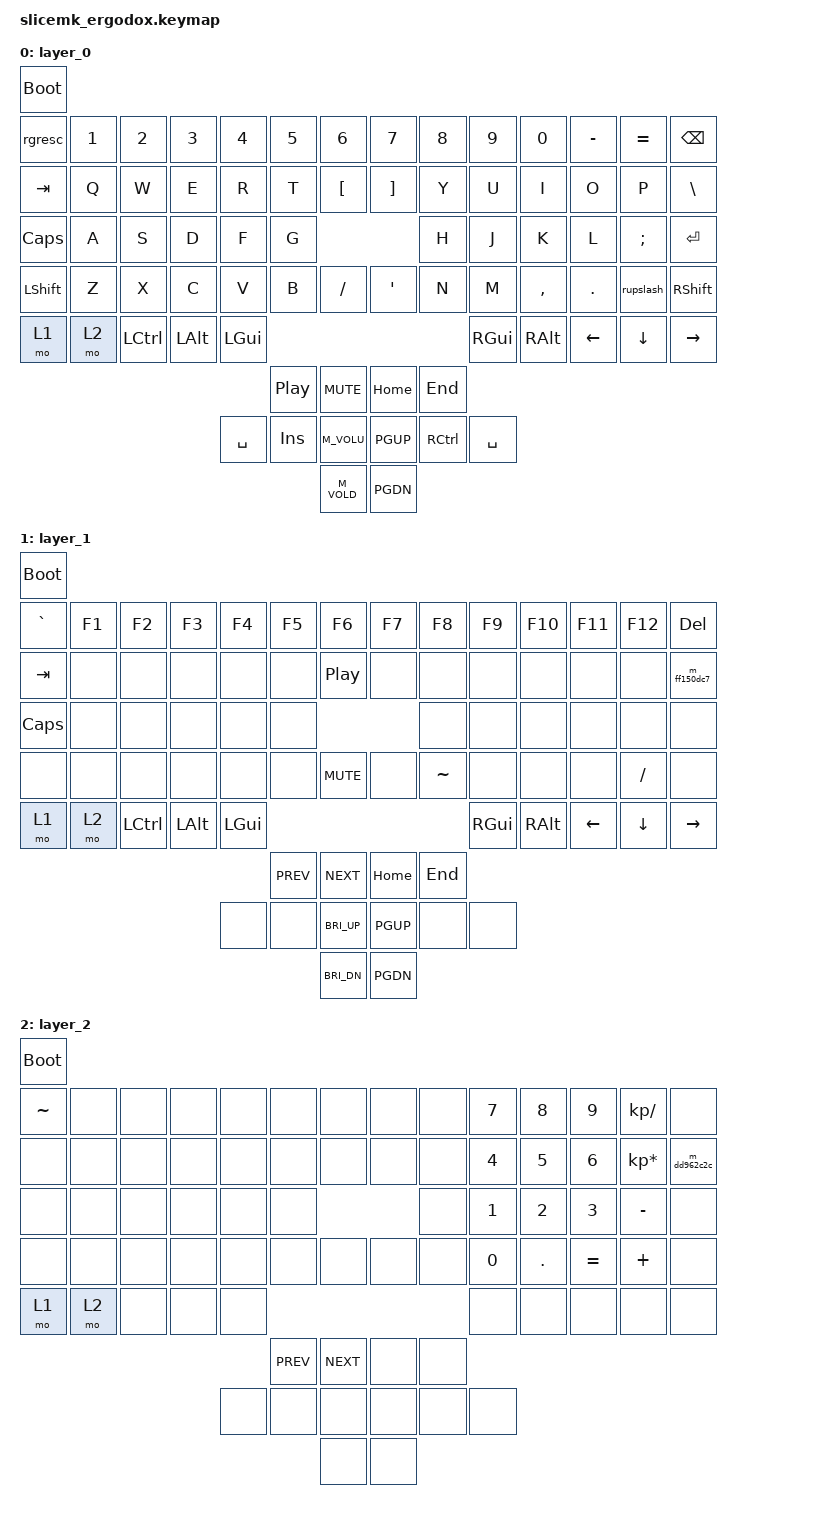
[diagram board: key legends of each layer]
#include <behaviors.dtsi>
#include <dt-bindings/zmk/bt.h>
#include <dt-bindings/zmk/keys.h>
#include <dt-bindings/zmk/outputs.h>

/ {
    behaviors {
        rgresc: rgrave_escape {
            compatible = "zmk,behavior-mod-morph";
            label = "RGRAVE_ESCAPE";
            #binding-cells = <0>;
            bindings = <&kp ESC>, <&kp GRAVE>;
            mods = <(MOD_LGUI|MOD_LSFT|MOD_RGUI|MOD_RSFT|MOD_LALT|MOD_RALT)>;
        };
		rupslash: rup_slash {
            compatible = "zmk,behavior-mod-morph";
            label = "RUP_SLASH";
            #binding-cells = <0>;
            bindings = <&kp UP>, <&kp SLASH>;
            mods = <(MOD_LGUI|MOD_RGUI|MOD_RSFT|MOD_LALT|MOD_RALT)>;
        };
    };					
};

/ {
	keymap {
		compatible = "zmk,keymap";
		layer_0 {
			bindings = <
				&bootloader
				&rgresc    &kp NUM_1 &kp NUM_2 &kp NUM_3 &kp NUM_4 &kp NUM_5 &kp NUM_6  &kp NUM_7 &kp NUM_8 &kp NUM_9 &kp NUM_0 &kp MINUS &kp EQUAL &kp BACKSPACE
				&kp TAB    &kp Q     &kp W     &kp E     &kp R     &kp T     &kp LBKT   &kp RBKT  &kp Y     &kp U     &kp I     &kp O     &kp P     &kp BSLH
				&kp CAPS   &kp A     &kp S     &kp D     &kp F     &kp G                          &kp H     &kp J     &kp K     &kp L     &kp SCLN  &kp ENTER
				&kp LSHIFT &kp Z     &kp X     &kp C     &kp V     &kp B     &kp SLASH  &kp SQT   &kp N     &kp M     &kp CMMA  &kp DOT   &rupslash &kp RSHFT
				&mo 1      &mo 2     &kp LCTL  &kp LALT  &kp LGUI                                           &kp RGUI  &kp RALT  &kp LEFT  &kp DOWN  &kp RIGHT
				                                                   &kp C_PP  &kp C_MUTE &kp HOME  &kp END
				                                         &kp SPC   &kp INS   &kp M_VOLU &kp PGUP  &kp RCTRL &kp SPC
				                                                             &kp M_VOLD &kp PGDN
			>;
		};
		layer_1 {
			bindings = <
				&bootloader
				&kp GRAVE &kp F1 &kp F2   &kp F3   &kp F4   &kp F5     &kp F6       &kp F7   &kp F8    &kp F9   &kp F10  &kp F11  &kp F12   &kp DEL
				&kp TAB   &none  &none    &none    &none    &none      &kp C_PP     &none    &none     &none    &none    &none    &none     &m_ff150dc7
				&kp CAPS  &none  &none    &none    &none    &none                            &none     &none    &none    &none    &none     &none
				&none     &none  &none    &none    &none    &none      &kp C_MUTE   &none    &kp TILDE &none    &none    &none    &kp SLASH &none
				&mo 1     &mo 2  &kp LCTL &kp LALT &kp LGUI                                            &kp RGUI &kp RALT &kp LEFT &kp DOWN  &kp RIGHT
				                                            &kp C_PREV &kp C_NEXT   &kp HOME &kp END
				                                   &none    &none      &kp C_BRI_UP &kp PGUP &none     &none
				                                                       &kp C_BRI_DN &kp PGDN
			>;
		};
		layer_2 {
			bindings = <
				&bootloader
				&kp TILDE &none &none &none &none &none      &none      &none &none &kp NUM_7 &kp NUM_8 &kp NUM_9 &kp KP_DIVIDE   &none
				&none     &none &none &none &none &none      &none      &none &none &kp NUM_4 &kp NUM_5 &kp NUM_6 &kp KP_MULTIPLY &m_dd962c2c
				&none     &none &none &none &none &none                       &none &kp NUM_1 &kp NUM_2 &kp NUM_3 &kp MINUS       &none
				&none     &none &none &none &none &none      &none      &none &none &kp NUM_0 &kp DOT   &kp EQUAL &kp PLUS        &none
				&mo 1     &mo 2 &none &none &none                                   &none     &none     &none     &none           &none
				                                  &kp C_PREV &kp C_NEXT &none &none
				                            &none &none      &none      &none &none &none
				                                             &none      &none
			>;
		};
	};

	ZMK_MACRO(m_ff150dc7, wait-ms = <40>; tap-ms = <40>; bindings = <&macro_tap &kp L>, <&macro_tap &kp A>, <&macro_tap &kp Y>, <&macro_tap &kp E>, <&macro_tap &kp R>, <&macro_tap &kp NUM_1>;)
	ZMK_MACRO(m_dd962c2c, wait-ms = <40>; tap-ms = <40>; bindings = <&macro_tap &kp L>, <&macro_tap &kp A>, <&macro_tap &kp Y>, <&macro_tap &kp E>, <&macro_tap &kp R>, <&macro_tap &kp NUM_2>;)
};
